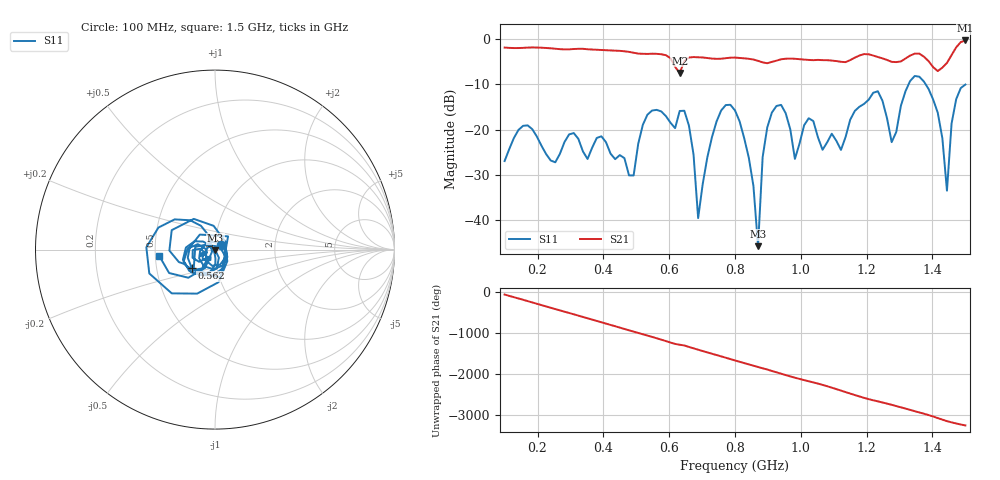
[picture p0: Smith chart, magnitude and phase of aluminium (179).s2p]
! NanoVNA-App
! Date: 2025-09-25 14:56:40
! Start: 100MHz Stop: 1,5GHz Points: 101
! S-Parameter data: F S11 S21 S12 S22
# Hz S RI R 50
!  Frequency  S11_Real  S11_Imag  S21_Real  S21_Imag  S12_Real  S12_Imag  S22_Real  S22_Imag
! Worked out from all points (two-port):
!   101 points, 100 MHz to 1.5 GHz, reference 50 ohm
!   highest |S21| = -0.35 dB at 1.5 GHz (marker M1); lowest = -7.5 dB at 632 MHz (marker M2)
!   |S21| within 3 dB of the highest: start of sweep to 569.8 MHz; 1.46 GHz to end of sweep (the widest 2 of 3)
!   lowest |S11| = -45.7 dB at 870 MHz (marker M3), VSWR 1.01, Z = 50.2 - j0.476 ohm
!   |S11| at or under -10 dB: start of sweep to 1.328 GHz; 1.379 GHz to end of sweep
!   S12 and S22 are empty: the file has one direction only
!   S11 on the Smith chart (normalised r, x): 100 MHz: 1.07, +0.06; 562 MHz: 0.76, -0.16; 1.5 GHz: 0.52, -0.04
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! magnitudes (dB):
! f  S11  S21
! 100 MHz  -26.9  -1.9
! 338 MHz  -24.8  -2.2
! 492 MHz  -30.1  -3.1
! 562 MHz  -15.7  -3.3
! 576 MHz  -16.0  -3.4
! 632 MHz  -15.9  -7.5
! 688 MHz  -39.5  -4.1
! 744 MHz  -18.2  -4.4
! 800 MHz  -15.8  -4.1
! 870 MHz  -45.7  -4.8
! 884 MHz  -26.1  -5.2
! 912 MHz  -16.3  -5.1
! 982 MHz  -26.5  -4.4
! 1.038 GHz  -18.1  -4.7
! 1.122 GHz  -24.5  -5.1
! 1.234 GHz  -11.6  -4.0
! 1.276 GHz  -22.8  -5.1
! 1.36 GHz  -8.3  -3.3
! 1.416 GHz  -16.3  -7.1
! 1.444 GHz  -33.5  -5.3
! 1.458 GHz  -18.7  -3.6
! 1.5 GHz  -10.1  -0.4
